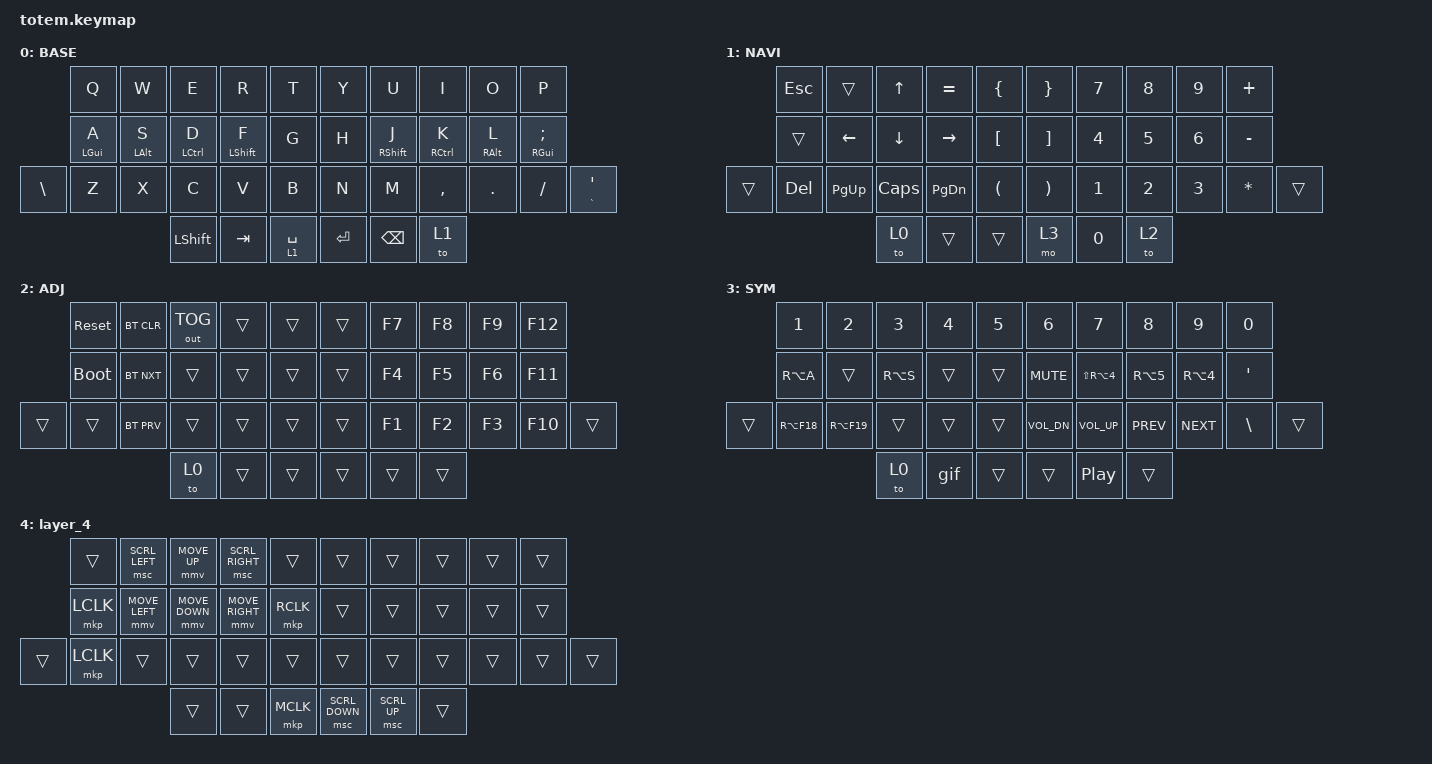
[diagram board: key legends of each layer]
//
//                                                        ▀▀▀▀▀     ▀▀▀▀▀          ▀▀█▀▀
//                                                        ▄▀▀▀▄  ▄  ▄▀▀▀▄  ▄  ▄▀▀▀▄  █  ▄▀▀▀▄
//                                                        █   █  █  █   █  █  █   █  █  █   █
//                                                         ▀▀▀   █   ▀▀▀   █   ▀▀▀   ▀   ▀▀▀
//                                                               █      ▄▄▄█▄▄▄    █   █
//                                                               ▀      █  █  █     █▄█
//                                                             ▀▀▀▀▀    █  █  █      ▀
//                                                                      ▀  ▀  ▀
//
// ▄▄▄▄▄▄▄▄▄▄▄▄▄▄▄▄▄▄▄▄▄▄▄▄▄▄▄▄▄▄▄▄▄▄▄▄▄▄▄▄▄▄▄▄▄▄▄▄▄▄▄▄▄▄▄▄▄▄▄▄▄▄▄▄▄▄▄▄▄▄▄▄▄▄▄▄▄▄▄▄▄▄▄▄▄▄▄▄▄▄▄▄▄▄▄▄▄▄▄▄▄▄▄▄▄▄▄▄▄▄▄▄▄▄▄▄▄▄▄▄▄▄▄▄▄▄▄▄▄▄▄▄▄▄▄▄▄▄▄▄▄▄▄▄▄▄▄▄▄

#include <behaviors.dtsi>
#include <dt-bindings/zmk/bt.h>
#include <dt-bindings/zmk/keys.h>
#include <dt-bindings/zmk/outputs.h>
#include <dt-bindings/zmk/pointing.h>

#define ZMK_POINTING_DEFAULT_MOVE_VAL 800  // default: 600
#define ZMK_POINTING_DEFAULT_SCRL_VAL 15    // default: 10
#define BASE 0
#define NAV  1
#define SYM  2
#define ADJ  3

&mt {
    quick-tap-ms = <100>;
    global-quick-tap;
    flavor = "tap-preferred";
    tapping-term-ms = <170>;
};

/ {
    combos {
        compatible = "zmk,combos";

        combo_esc {
            timeout-ms = <50>;
            key-positions = <0 1>;
            bindings = <&kp ESC>;
        };

        capslock {
            bindings = <&lt 4 CAPSLOCK>;
            key-positions = <17 18>;
        };
    };

    macros {
        gif: gif {
            label = "giphy";
            compatible = "zmk,behavior-macro";
            #binding-cells = <0>;
            bindings =
                <&macro_press>,
                <&kp LSHFT>,
                <&macro_tap>,
                <&kp N2>,
                <&macro_release>,
                <&kp LSHFT>,
                <&macro_tap>,
                <&kp G &kp I &kp F>;
        };
    };

    keymap {
        compatible = "zmk,keymap";

        // ▄▄▄▄▄▄▄▄▄▄▄▄▄▄▄▄▄▄▄▄▄▄▄▄▄▄▄▄▄▄▄▄▄▄▄▄▄▄▄▄▄▄▄▄▄▄▄▄▄▄▄▄▄▄▄▄▄▄▄▄▄▄▄▄▄▄▄▄▄▄▄▄▄▄▄▄▄▄▄▄▄▄▄▄▄▄▄▄▄▄▄▄▄▄▄▄▄▄▄▄▄▄▄▄▄▄▄▄▄▄▄▄▄▄▄▄▄▄▄▄▄▄▄▄▄▄▄▄▄▄▄▄▄▄▄▄▄▄▄▄▄▄▄▄▄▄▄▄▄

        base_layer {
            // ┏━━━━━━━━━━━━━━━━━━━━━━━━━━━━━━━━━━━━━━━┓

            label = "BASE";

            // ┗━━━━━━━━━━━━━━━━━━━━━━━━━━━━━━━━━━━━━━━┛
            //             ┏━━━━━━━━━━━┳━━━━━━━━━━━┳━━━━━━━━━━━┳━━━━━━━━━━━┳━━━━━━━━━━━┓   ┏━━━━━━━━━━━┳━━━━━━━━━━━┳━━━━━━━━━━━┳━━━━━━━━━━━┳━━━━━━━━━━━┓
            //             ┃     Q     ┃     W     ┃     F     ┃     P     ┃     G     ┃   ┃     J     ┃     L     ┃     U     ┃     Y     ┃     ;     ┃
            //             ┣━━━━━━━━━━━╋━━━━━━━━━━━╋━━━━━━━━━━━╋━━━━━━━━━━━╋━━━━━━━━━━━┫   ┣━━━━━━━━━━━╋━━━━━━━━━━━╋━━━━━━━━━━━╋━━━━━━━━━━━╋━━━━━━━━━━━┫
            //             ┃     A     ┃     R     ┃     S     ┃     T     ┃     D     ┃   ┃     H     ┃     N     ┃     E     ┃     I     ┃     O     ┃
            // ┏━━━━━━━━━━━╋━━━━━━━━━━━╋━━━━━━━━━━━╋━━━━━━━━━━━╋━━━━━━━━━━━╋━━━━━━━━━━━┫   ┣━━━━━━━━━━━╋━━━━━━━━━━━╋━━━━━━━━━━━╋━━━━━━━━━━━╋━━━━━━━━━━━╋━━━━━━━━━━━┓
            // ┃           ┃     Z     ┃     X     ┃     C     ┃     V     ┃     B     ┃   ┃     K     ┃     M     ┃     ,     ┃     .     ┃     /     ┃           ┃
            // ┗━━━━━━━━━━━┻━━━━━━━━━━━┻━━━━━━━━━━━╋━━━━━━━━━━━╋━━━━━━━━━━━╋━━━━━━━━━━━┫   ┣━━━━━━━━━━━╋━━━━━━━━━━━╋━━━━━━━━━━━╋━━━━━━━━━━━┻━━━━━━━━━━━┻━━━━━━━━━━━┛
            //                                     ┃           ┃    TAB    ┃    SPC    ┃   ┃   ENTER   ┃   BSPC    ┃           ┃
            //                                     ┗━━━━━━━━━━━┻━━━━━━━━━━━┻━━━━━━━━━━━┛   ┗━━━━━━━━━━━┻━━━━━━━━━━━┻━━━━━━━━━━━┛

            bindings = <
               &kp Q       &kp W       &kp E           &kp R             &kp T          &kp Y       &kp U              &kp I        &kp O       &kp P
               &mt LGUI A  &mt LALT S  &mt LCTRL D     &mt LEFT_SHIFT F  &kp G          &kp H       &mt RIGHT_SHIFT J  &mt RCTRL K  &mt RALT L  &mt RGUI SEMICOLON
&kp BACKSLASH  &kp Z       &kp X       &kp C           &kp V             &kp B          &kp N       &kp M              &kp COMMA    &kp DOT     &kp FSLH            &mt GRAVE APOSTROPHE
                                       &kp LEFT_SHIFT  &kp TAB           &lt 1 SPACE    &kp RETURN  &kp BACKSPACE      &to 1
            >;
        };

        nav_layer {
            // ┏━━━━━━━━━━━━━━━━━━━━━━━━━━━━━━━━━━━━━━━┓

            label = "NAVI";

            // ┗━━━━━━━━━━━━━━━━━━━━━━━━━━━━━━━━━━━━━━━┛
            //             ┏━━━━━━━━━━━┳━━━━━━━━━━━┳━━━━━━━━━━━┳━━━━━━━━━━━┳━━━━━━━━━━━┓   ┏━━━━━━━━━━━┳━━━━━━━━━━━┳━━━━━━━━━━━┳━━━━━━━━━━━┳━━━━━━━━━━━┓
            //             ┃           ┃           ┃     UP    ┃           ┃     {     ┃   ┃     }     ┃     7     ┃     8     ┃     9     ┃     +     ┃
            //             ┣━━━━━━━━━━━╋━━━━━━━━━━━╋━━━━━━━━━━━╋━━━━━━━━━━━╋━━━━━━━━━━━┫   ┣━━━━━━━━━━━╋━━━━━━━━━━━╋━━━━━━━━━━━╋━━━━━━━━━━━╋━━━━━━━━━━━┫
            //             ┃   SHIFT   ┃   LEFT    ┃    DOWN   ┃   RIGHT   ┃     [     ┃   ┃     ]     ┃     4     ┃     5     ┃     6     ┃     -     ┃
            // ┏━━━━━━━━━━━╋━━━━━━━━━━━╋━━━━━━━━━━━╋━━━━━━━━━━━╋━━━━━━━━━━━╋━━━━━━━━━━━┫   ┣━━━━━━━━━━━╋━━━━━━━━━━━╋━━━━━━━━━━━╋━━━━━━━━━━━╋━━━━━━━━━━━╋━━━━━━━━━━━┓
            // ┃           ┃           ┃   P UP    ┃  C LOCK   ┃  P DOWN   ┃     (     ┃   ┃     )     ┃     1     ┃     2     ┃     3     ┃     *     ┃           ┃
            // ┗━━━━━━━━━━━┻━━━━━━━━━━━┻━━━━━━━━━━━╋━━━━━━━━━━━╋━━━━━━━━━━━╋━━━━━━━━━━━┫   ┣━━━━━━━━━━━╋━━━━━━━━━━━╋━━━━━━━━━━━╋━━━━━━━━━━━┻━━━━━━━━━━━┻━━━━━━━━━━━┛
            //                                     ┃           ┃    TAB    ┃    SPC    ┃   ┃    DEL    ┃     0     ┃           ┃
            //                                     ┗━━━━━━━━━━━┻━━━━━━━━━━━┻━━━━━━━━━━━┛   ┗━━━━━━━━━━━┻━━━━━━━━━━━┻━━━━━━━━━━━┛

            bindings = <
        &kp ESC  &trans     &kp UP    &kp EQUAL  &kp LBRC    &kp RBRC  &kp NUMBER_7  &kp NUMBER_8  &kp NUMBER_9  &kp PLUS
        &trans   &kp LEFT   &kp DOWN  &kp RIGHT  &kp LBKT    &kp RBKT  &kp NUMBER_4  &kp NUMBER_5  &kp NUMBER_6  &kp MINUS
&trans  &kp DEL  &kp PG_UP  &kp CAPS  &kp PG_DN  &kp LPAR    &kp RPAR  &kp NUMBER_1  &kp NUMBER_2  &kp NUMBER_3  &kp ASTERISK  &trans
                            &to 0     &trans     &trans      &mo 3     &kp NUMBER_0  &to 2
            >;
        };

        adjust_layer {
            // ┏━━━━━━━━━━━━━━━━━━━━━━━━━━━━━━━━━━━━━━━┓

            label = "ADJ";

            // ┗━━━━━━━━━━━━━━━━━━━━━━━━━━━━━━━━━━━━━━━┛
            //             ┏━━━━━━━━━━━┳━━━━━━━━━━━┳━━━━━━━━━━━┳━━━━━━━━━━━┳━━━━━━━━━━━┓   ┏━━━━━━━━━━━┳━━━━━━━━━━━┳━━━━━━━━━━━┳━━━━━━━━━━━┳━━━━━━━━━━━┓
            //             ┃   RESET   ┃ BT CLEAR  ┃  OUT TOG  ┃           ┃           ┃   ┃           ┃    F7     ┃    F8     ┃    F9     ┃    F12    ┃
            //             ┣━━━━━━━━━━━╋━━━━━━━━━━━╋━━━━━━━━━━━╋━━━━━━━━━━━╋━━━━━━━━━━━┫   ┣━━━━━━━━━━━╋━━━━━━━━━━━╋━━━━━━━━━━━╋━━━━━━━━━━━╋━━━━━━━━━━━┫
            //             ┃ BOOTLOAD  ┃ BT NEXT   ┃           ┃           ┃           ┃   ┃           ┃    F4     ┃    F5     ┃    F6     ┃    F11    ┃
            // ┏━━━━━━━━━━━╋━━━━━━━━━━━╋━━━━━━━━━━━╋━━━━━━━━━━━╋━━━━━━━━━━━╋━━━━━━━━━━━┫   ┣━━━━━━━━━━━╋━━━━━━━━━━━╋━━━━━━━━━━━╋━━━━━━━━━━━╋━━━━━━━━━━━╋━━━━━━━━━━━┓
            // ┃           ┃           ┃ BT PREV   ┃           ┃           ┃           ┃   ┃           ┃    F1     ┃    F2     ┃    F3     ┃    F10    ┃           ┃
            // ┗━━━━━━━━━━━┻━━━━━━━━━━━┻━━━━━━━━━━━╋━━━━━━━━━━━╋━━━━━━━━━━━╋━━━━━━━━━━━┫   ┣━━━━━━━━━━━╋━━━━━━━━━━━╋━━━━━━━━━━━╋━━━━━━━━━━━┻━━━━━━━━━━━┻━━━━━━━━━━━┛
            //                                     ┃           ┃           ┃           ┃   ┃           ┃           ┃           ┃
            //                                     ┗━━━━━━━━━━━┻━━━━━━━━━━━┻━━━━━━━━━━━┛   ┗━━━━━━━━━━━┻━━━━━━━━━━━┻━━━━━━━━━━━┛

            bindings = <
        &sys_reset   &bt BT_CLR  &out OUT_TOG  &trans  &trans    &trans  &kp F7  &kp F8  &kp F9  &kp F12
        &bootloader  &bt BT_NXT  &trans        &trans  &trans    &trans  &kp F4  &kp F5  &kp F6  &kp F11
&trans  &trans       &bt BT_PRV  &trans        &trans  &trans    &trans  &kp F1  &kp F2  &kp F3  &kp F10  &trans
                                 &to 0         &trans  &trans    &trans  &trans  &trans
            >;
        };

        sim_layer {
            // ┏━━━━━━━━━━━━━━━━━━━━━━━━━━━━━━━━━━━━━━━┓

            label = "SYM";

            // ┗━━━━━━━━━━━━━━━━━━━━━━━━━━━━━━━━━━━━━━━┛
            //             ┏━━━━━━━━━━━┳━━━━━━━━━━━┳━━━━━━━━━━━┳━━━━━━━━━━━┳━━━━━━━━━━━┓   ┏━━━━━━━━━━━┳━━━━━━━━━━━┳━━━━━━━━━━━┳━━━━━━━━━━━┳━━━━━━━━━━━┓
            //             ┃     !     ┃     @     ┃     #     ┃     $     ┃     %     ┃   ┃     ˆ     ┃     &     ┃     Ü     ┃     '     ┃     "     ┃
            //             ┣━━━━━━━━━━━╋━━━━━━━━━━━╋━━━━━━━━━━━╋━━━━━━━━━━━╋━━━━━━━━━━━┫   ┣━━━━━━━━━━━╋━━━━━━━━━━━╋━━━━━━━━━━━╋━━━━━━━━━━━╋━━━━━━━━━━━┫
            //             ┃     Ä     ┃           ┃    SZ     ┃           ┃           ┃   ┃   MUTE    ┃   YEN     ┃   EURO    ┃  POUND    ┃     Ö     ┃
            // ┏━━━━━━━━━━━╋━━━━━━━━━━━╋━━━━━━━━━━━╋━━━━━━━━━━━╋━━━━━━━━━━━╋━━━━━━━━━━━┫   ┣━━━━━━━━━━━╋━━━━━━━━━━━╋━━━━━━━━━━━╋━━━━━━━━━━━╋━━━━━━━━━━━╋━━━━━━━━━━━┓
            // ┃           ┃  EMAIL1   ┃  EMAIL2   ┃           ┃           ┃           ┃   ┃   VOL-    ┃   VOL+    ┃   LAST    ┃   NEXT    ┃     \     ┃           ┃
            // ┗━━━━━━━━━━━┻━━━━━━━━━━━┻━━━━━━━━━━━╋━━━━━━━━━━━╋━━━━━━━━━━━╋━━━━━━━━━━━┫   ┣━━━━━━━━━━━╋━━━━━━━━━━━╋━━━━━━━━━━━╋━━━━━━━━━━━┻━━━━━━━━━━━┻━━━━━━━━━━━┛
            //                                     ┃           ┃    GIF    ┃    ADJ    ┃   ┃           ┃           ┃           ┃
            //                                     ┗━━━━━━━━━━━┻━━━━━━━━━━━┻━━━━━━━━━━━┛   ┗━━━━━━━━━━━┻━━━━━━━━━━━┻━━━━━━━━━━━┛

            bindings = <
        &kp NUMBER_1  &kp NUMBER_2  &kp NUMBER_3  &kp NUMBER_4  &kp NUMBER_5    &kp NUMBER_6  &kp NUMBER_7    &kp NUMBER_8  &kp NUMBER_9  &kp NUMBER_0
        &kp RA(A)     &trans        &kp RA(S)     &trans        &trans          &kp C_MUTE    &kp LS(RA(N4))  &kp RA(N5)    &kp RA(N4)    &kp SINGLE_QUOTE
&trans  &kp RA(F18)   &kp RA(F19)   &trans        &trans        &trans          &kp C_VOL_DN  &kp C_VOL_UP    &kp C_PREV    &kp C_NEXT    &kp BSLH          &trans
                                    &to 0         &gif          &trans          &trans        &kp C_PP        &trans
            >;
        };

        layer_4 {
            bindings = <
        &trans     &msc SCRL_LEFT  &mmv MOVE_UP    &msc SCRL_RIGHT  &trans       &trans          &trans        &trans  &trans  &trans
        &mkp LCLK  &mmv MOVE_LEFT  &mmv MOVE_DOWN  &mmv MOVE_RIGHT  &mkp RCLK    &trans          &trans        &trans  &trans  &trans
&trans  &mkp LCLK  &trans          &trans          &trans           &trans       &trans          &trans        &trans  &trans  &trans  &trans
                                   &trans          &trans           &mkp MCLK    &msc SCRL_DOWN  &msc SCRL_UP  &trans
            >;
        };
    };
};
;
